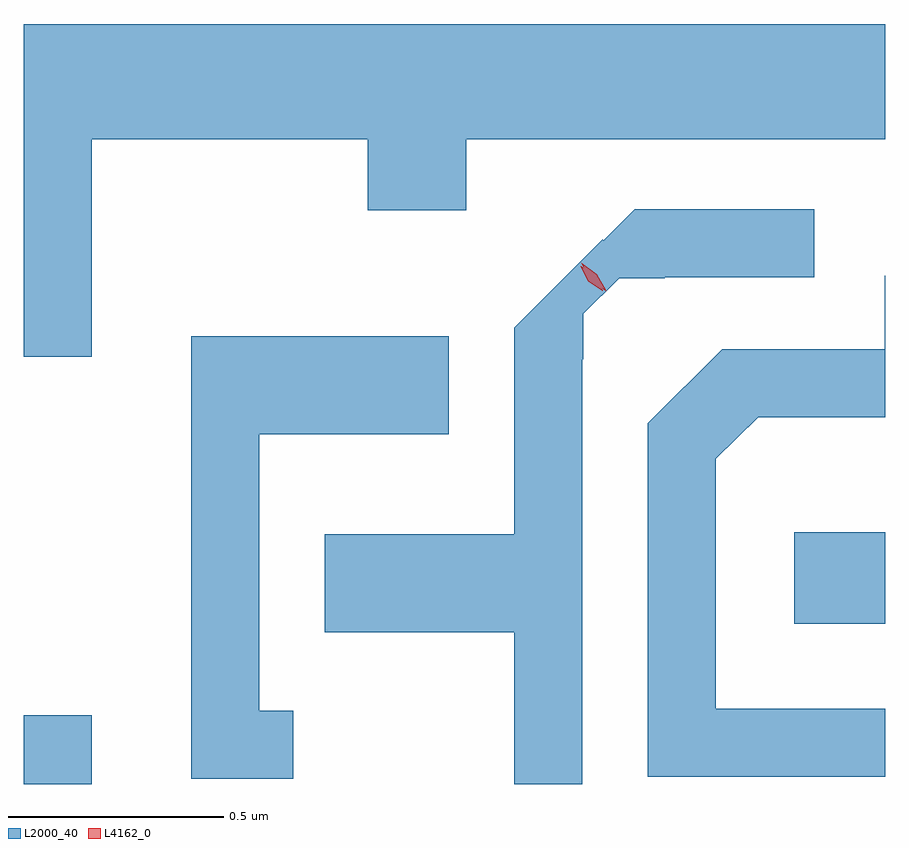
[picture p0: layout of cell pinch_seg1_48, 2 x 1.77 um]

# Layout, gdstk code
import gdstk
lib = gdstk.Library(unit=1e-6, precision=1e-09)
def R(c, l, rs):  # rectangles x0, y0, x1, y1
    for r in rs: c.add(gdstk.rectangle(r[:2], r[2:], *l))
def P(c, l, *ps):  # polygons
    for p in ps: c.add(gdstk.Polygon(p, *l))
L2000_40 = (2000, 40)
L4162_0 = (4162, 0)

pinch_seg1_48 = lib.new_cell('pinch_seg1_48')
R(pinch_seg1_48, L2000_40, [(1063.892,840.359,1064.049,840.519), (1065.681,840.731,1065.892,840.944)])
P(pinch_seg1_48, L2000_40, [(1064.049,841.856),(1064.691,841.856),(1064.691,841.691),(1064.919,841.691),(1064.919,841.856),(1065.892,841.856),(1065.892,842.124),(1063.892,842.124),(1063.892,841.351),(1064.049,841.351)],
  [(1065.189,841.345),(1065.191,841.345),(1065.191,841.451),(1065.275,841.534),(1065.38,841.534),(1065.38,841.536),(1065.728,841.536),(1065.728,841.694),(1065.311,841.694),(1065.238,841.621),(1065.236,841.624),(1065.031,841.419),(1065.031,840.939),(1064.591,840.939),(1064.591,840.711),(1065.031,840.711),(1065.031,840.359),(1065.189,840.359)],
  [(1065.892,840.534),(1065.499,840.534),(1065.499,841.114),(1065.597,841.211),(1065.892,841.211),(1065.892,841.539),(1065.891,841.539),(1065.891,841.369),(1065.514,841.369),(1065.341,841.197),(1065.341,840.376),(1065.892,840.376)],
  [(1064.518,840.529),(1064.439,840.529),(1064.439,841.171),(1064.879,841.171),(1064.879,841.399),(1064.281,841.399),(1064.281,840.371),(1064.518,840.371)])
P(pinch_seg1_48, L4162_0, [(1065.244,841.503),(1065.207,841.53),(1065.186,841.569),(1065.186,841.57),(1065.186,841.57),(1065.222,841.543),(1065.244,841.504),(1065.244,841.503)],
  [(1065.235,841.505),(1065.203,841.526),(1065.185,841.56),(1065.185,841.561),(1065.186,841.561),(1065.218,841.54),(1065.236,841.506),(1065.236,841.505)])

lib.write_gds('pinch_seg1_48.gds')
